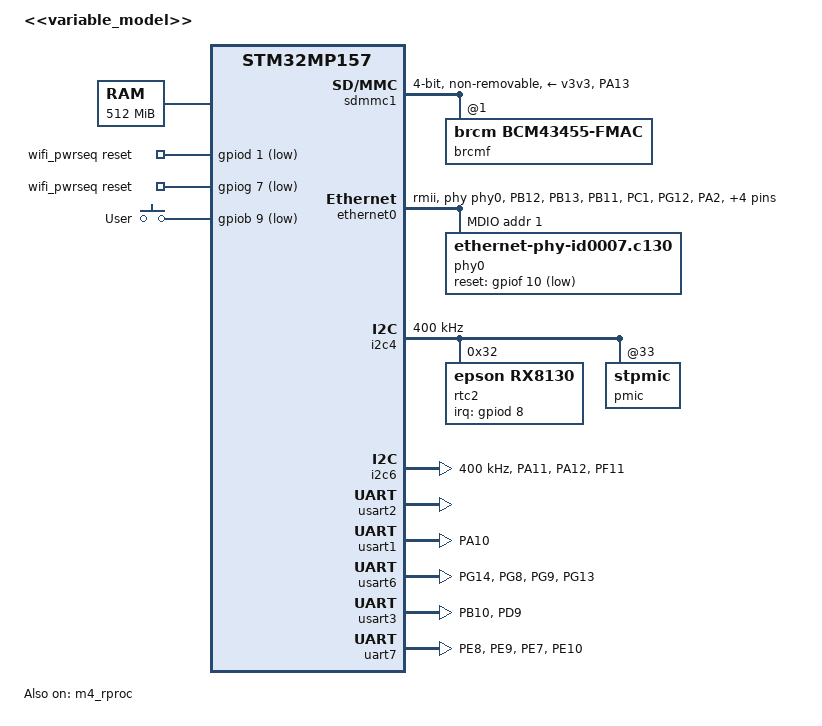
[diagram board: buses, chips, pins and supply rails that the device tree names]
// SPDX-License-Identifier: (GPL-2.0+ OR BSD-3-Clause)
/*
 * Copyright (C) STMicroelectronics 2019 - All Rights Reserved
 * Author: Alexandre Torgue <alexandre.torgue@st.com> for STMicroelectronics.
 */
/dts-v1/;

/ {
	cpus {
		cpu1: cpu@1 {
			compatible = "arm,cortex-a7";
			device_type = "cpu";
			reg = <1>;
		};
	};
};

#include "stm32mp151.dtsi"
#include "stm32mp15xa.dtsi"
#include "stm32mp15-pinctrl.dtsi"
#include "stm32mp15xxab-pinctrl.dtsi"
#include "stm32mp15-m4-srm.dtsi"
#include "stm32mp15-m4-srm-pinctrl.dtsi"
#include "stm32mp15xx-edx.dtsi"
#include <dt-bindings/input/input.h>

/ {
	model = "<<variable_model>>";
	compatible = "st,stm32mp157c-ed1", "st,stm32mp157";

	chosen {
		stdout-path = "serial0:115200n8";
	};

	aliases {
		serial0 = &uart4;
		serial1 = &usart1;
		serial2 = &usart2;
		serial3 = &usart3;
		serial6 = &usart6;
		serial7 = &uart7;
		ethernet0 = &ethernet0;
	};

	memory@c0000000 {
		device_type = "memory";
		reg = <0xC0000000 0x20000000>;
	};

	reserved-memory {
		#address-cells = <1>;
		#size-cells = <1>;
		ranges;

		mcu_rsc_table: mcu_rsc_table@10048000 {
			compatible = "shared-dma-pool";
			reg = <0x10048000 0x8000>;
			no-map;
		};
	};

	wifi_pwrseq: wifi-pwrseq {
		compatible = "mmc-pwrseq-simple";
		reset-gpios = <&gpiod 1 GPIO_ACTIVE_LOW>,
			<&gpiog 7 GPIO_ACTIVE_LOW>;
	};

	user_keys {
		compatible = "gpio-keys";
		#address-cells = <1>;
		#size-cells = <0>;
		autorepeat;
		button-0 {
			label = "User";
			linux,code = <KEY_F8>;
			gpios = <&gpiob 9 GPIO_ACTIVE_LOW>;
		};
	};
};

/delete-node/ &pinctrl_z;
/delete-node/ &i2s1;
/delete-node/ &i2s2;
/delete-node/ &i2s3;
/delete-node/ &i2c5;
/delete-node/ &i2c5_pins_a;
/delete-node/ &i2c5_sleep_pins_a;
/delete-node/ &sai1;
/delete-node/ &sai2;
/delete-node/ &sai3;
/delete-node/ &sai4;
/delete-node/ &cec;
/delete-node/ &dcmi;
/delete-node/ &spdifrx;
/delete-node/ &spdifrx_pins_a;
/delete-node/ &spdifrx_sleep_pins_a;
/delete-node/ &ltdc;
/delete-node/ &sd_switch;
/delete-node/ &dac;
/delete-node/ &usbotg_hs;
/delete-node/ &usbotg_hs_pins_a;
/delete-node/ &usbotg_fs_dp_dm_pins_a;
/delete-node/ &sdmmc1_dir_pins_a;
/delete-node/ &sdmmc1_dir_sleep_pins_a;
/delete-node/ &{/led};

&cpu0{
	cpu-supply = <&vddcore>;
	clock-frequency = <650000000>;
};

&pinctrl {
	/* I2C1 Expansion header */
	i2c1_pins_a: i2c1-0 {
		pins {
			pinmux = <STM32_PINMUX('B', 8, AF4)>, /* I2C1_SCL */
				 <STM32_PINMUX('B', 7, AF4)>; /* I2C1_SDA */
			bias-pull-up;
			drive-open-drain;
			slew-rate = <0>;
		};
	};

	i2c1_sleep_pins_a: i2c1-sleep-0 {
		pins {
			pinmux = <STM32_PINMUX('B', 8, ANALOG)>, /* I2C1_SCL */
				 <STM32_PINMUX('B', 7, ANALOG)>; /* I2C1_SDA */
		};
	};

	/* I2C4 PMIC & Apple authenticator */
	i2c4_pins_a: i2c4-0 {
		pins {
			pinmux = <STM32_PINMUX('D', 12, AF4)>, /* I2C4_SCL */
				 <STM32_PINMUX('D', 13, AF4)>; /* I2C4_SDA */
			bias-pull-up;
			drive-open-drain;
			slew-rate = <0>;
		};
	};

	i2c4_sleep_pins_a: i2c4-sleep-0 {
		pins {
			pinmux = <STM32_PINMUX('D', 12, ANALOG)>, /* I2C4_SCL */
				 <STM32_PINMUX('D', 13, ANALOG)>; /* I2C4_SDA */
		};
	};

	/* I2C6 Secure element */
	i2c6_pins_a: i2c6-0 {
		pins {
			pinmux = <STM32_PINMUX('A', 11, AF2)>, /* I2C6_SCL */
				 <STM32_PINMUX('A', 12, AF2)>; /* I2C6_SDA */
			bias-disable;
			drive-open-drain;
			slew-rate = <0>;
		};

		pins2 {
			pinmux = <STM32_PINMUX('F', 11, GPIO)>; /* RESET */
			drive-push-pull;
			output-high;
		};
	};

	i2c6_sleep_pins_a: i2c6-sleep-0 {
		pins {
			pinmux = <STM32_PINMUX('A', 11, ANALOG)>, /* I2C6_SCL */
				 <STM32_PINMUX('A', 12, ANALOG)>; /* I2C6_SDA */
		};

		pins2 {
			pinmux = <STM32_PINMUX('F', 11, ANALOG)>; /* RESET */
		};
	};

	/* USART1 PTI Zigbee module */
	usart1_pins_a: usart1-0 {
		pins {
			pinmux = <STM32_PINMUX('A', 10, AF7)>; /* USART1_RX */
			bias-disable;
		};
	};

	usart1_idle_pins_a: usart1-idle-0 {
		pins {
			pinmux = <STM32_PINMUX('A', 10, AF7)>; /* USART1_RX */
			bias-disable;
		};
	};

	usart1_sleep_pins_a: usart1-sleep-0 {
		pins {
			pinmux = <STM32_PINMUX('A', 10, ANALOG)>; /* USART1_RX */
		};
	};

	/* USART3 only RX Thread PTI */
	usart3_pins_a: usart3-0 {
		pins1 {
			pinmux = <STM32_PINMUX('B', 10, ANALOG)>; /* USART3_TX */
		};
		pins2 {
			pinmux = <STM32_PINMUX('D', 9, AF7)>; /* USART3_RX */
			bias-disable;
		};
	};

	usart3_idle_pins_a: usart3-idle-0 {
		pins1 {
			pinmux = <STM32_PINMUX('B', 10, ANALOG)>; /* USART3_TX */
		};
		pins2 {
			pinmux = <STM32_PINMUX('D', 9, AF7)>; /* USART3_RX */
			bias-disable;
		};
	};

	usart3_sleep_pins_a: usart3-sleep-0 {
		pins {
			pinmux = <STM32_PINMUX('B', 10, ANALOG)>, /* USART3_TX */
					<STM32_PINMUX('D', 9, ANALOG)>; /* USART3_RX */
		};
	};

	/* USART6 Zigbee module */
	usart6_pins_a: usart6-0 {
		pins1 {
			pinmux = <STM32_PINMUX('G', 14, AF7)>, /* USART6_TX */
				 <STM32_PINMUX('G', 8, AF7)>; /* USART6_RTS */
			bias-disable;
			drive-push-pull;
			slew-rate = <0>;
		};
		pins2 {
			pinmux = <STM32_PINMUX('G', 9, AF7)>, /* USART6_RX */
				 <STM32_PINMUX('G', 13, AF7)>; /* USART6_CTS */
			bias-disable;
		};
	};

	usart6_idle_pins_a: usart6-idle-0 {
		pins1 {
			pinmux = <STM32_PINMUX('G', 14, AF7)>, /* USART6_TX */
				 <STM32_PINMUX('G', 8, AF7)>; /* USART6_RTS */
			bias-pull-up;
			drive-push-pull;
			slew-rate = <0>;
		};
		pins2 {
			pinmux = <STM32_PINMUX('G', 9, AF7)>, /* USART7_RX */
				 <STM32_PINMUX('G', 13, AF7)>; /* USART7_CTS */
			bias-disable;
		};
	};

	usart6_sleep_pins_a: usart6-sleep-0 {
		pins {
			pinmux = <STM32_PINMUX('G', 14, ANALOG)>, /* USART7_TX */
				 <STM32_PINMUX('G', 9, ANALOG)>, /* USART7_RX */
				 <STM32_PINMUX('G', 8, ANALOG)>, /* USART7_RTS */
				 <STM32_PINMUX('G', 13, ANALOG)>; /* USART7_CTS */
		};
	};

	/* UART7 Thread module */
	uart7_pins_a: uart7-0 {
		pins1 {
			pinmux = <STM32_PINMUX('E', 8, AF7)>, /* USART7_TX */
				 <STM32_PINMUX('E', 9, AF7)>; /* USART7_RTS */
			bias-disable;
			drive-push-pull;
			slew-rate = <0>;
		};
		pins2 {
			pinmux = <STM32_PINMUX('E', 7, AF7)>, /* USART7_RX */
				 <STM32_PINMUX('E', 10, AF7)>; /* USART7_CTS */
			bias-disable;
		};
	};

	uart7_idle_pins_a: uart7-idle-0 {
		pins1 {
			pinmux = <STM32_PINMUX('E', 8, AF7)>, /* USART7_TX */
				 <STM32_PINMUX('E', 9, AF7)>; /* USART7_RTS */
			bias-pull-up;
			drive-push-pull;
			slew-rate = <0>;
		};
		pins2 {
			pinmux = <STM32_PINMUX('E', 7, AF7)>, /* USART7_RX */
				 <STM32_PINMUX('E', 10, AF7)>; /* USART7_CTS */
			bias-disable;
		};
	};

	uart7_sleep_pins_a: uart7-sleep-0 {
		pins {
			pinmux = <STM32_PINMUX('E', 8, ANALOG)>, /* USART7_TX */
				 <STM32_PINMUX('E', 7, ANALOG)>, /* USART7_RX */
				 <STM32_PINMUX('E', 9, ANALOG)>, /* USART7_RTS */
				 <STM32_PINMUX('E', 10, ANALOG)>; /* USART7_CTS */
		};
	};

	sdmmc1_b4_pins_a: sdmmc1-b4-0 {
		pins3 {
			pinmux = <STM32_PINMUX('A', 13, AF2)>; /* RCC_MCO_1 */
			drive-push-pull;
			bias-disable;
			slew-rate = <0>;
		};
	};

	sdmmc1_b4_od_pins_a: sdmmc1-b4-od-0 {
		pins4 {
			pinmux = <STM32_PINMUX('A', 13, AF2)>; /* RCC_MCO_1 */
			drive-push-pull;
			bias-disable;
			slew-rate = <0>;
		};
	};

	sdmmc1_b4_sleep_pins_a: sdmmc1-b4-sleep-0 {
		pins2 {
			pinmux = <STM32_PINMUX('A', 13, AF2)>; /* RCC_MCO_1 */
			drive-push-pull;
			bias-disable;
			slew-rate = <0>;
		};
	};

	sdmmc2_d47_pins_a: sdmmc2-d47-0 {
		pins {
			pinmux = <STM32_PINMUX('A', 8, AF9)>, /* SDMMC2_D4 */
				 <STM32_PINMUX('A', 9, AF10)>, /* SDMMC2_D5 */
				 <STM32_PINMUX('E', 5, AF9)>, /* SDMMC2_D6 */
				 <STM32_PINMUX('C', 7, AF10)>; /* SDMMC2_D7 */
			slew-rate = <1>;
			drive-push-pull;
			bias-pull-up;
		};
	};

	sdmmc2_d47_sleep_pins_a: sdmmc2-d47-sleep-0 {
		pins {
			pinmux = <STM32_PINMUX('A', 8, ANALOG)>, /* SDMMC2_D4 */
				 <STM32_PINMUX('A', 9, ANALOG)>, /* SDMMC2_D5 */
				 <STM32_PINMUX('E', 5, ANALOG)>, /* SDMMC2_D6 */
				 <STM32_PINMUX('C', 7, ANALOG)>; /* SDMMC2_D7 */
		};
	};

	ethernet0_rmii_pins_a: rmii-0 {
		pins1 {
			pinmux = <STM32_PINMUX('B', 12, AF11)>, /* ETH_RGMII_TXD0 */
				 <STM32_PINMUX('B', 13, AF11)>, /* ETH_RGMII_TXD1 */
				 <STM32_PINMUX('B', 11, AF11)>, /* ETH_RGMII_TX_CTL */
				 <STM32_PINMUX('C', 1, AF11)>, /* ETH_MDC */
				 <STM32_PINMUX('G', 12, AF11)>; /* ETH_INTn */
			bias-disable;
			drive-push-pull;
			slew-rate = <2>;
		};
		pins2 {
			pinmux = <STM32_PINMUX('A', 2, AF11)>; /* ETH_MDIO */
			bias-disable;
			drive-push-pull;
			slew-rate = <1>;
		};
		pins3 {
			pinmux = <STM32_PINMUX('C', 4, AF11)>, /* ETH_RGMII_RXD0 */
				 <STM32_PINMUX('C', 5, AF11)>, /* ETH_RGMII_RXD1 */
				 <STM32_PINMUX('A', 1, AF0)>, /* ETH_RGMII_RX_CLK */
				 <STM32_PINMUX('A', 7, AF11)>; /* ETH_RGMII_RX_CTL */
			bias-disable;
			slew-rate = <2>;
		};
	};

	ethernet0_rmii_sleep_pins_a: rmii-sleep-0 {
		pins1 {
			pinmux = <STM32_PINMUX('B', 12, ANALOG)>, /* ETH_RGMII_TXD0 */
				 <STM32_PINMUX('B', 13, ANALOG)>, /* ETH_RGMII_TXD1 */
				 <STM32_PINMUX('B', 11, ANALOG)>, /* ETH_RGMII_TX_CTL */
				 <STM32_PINMUX('A', 2, ANALOG)>, /* ETH_MDIO */
				 <STM32_PINMUX('C', 1, ANALOG)>, /* ETH_MDC */
				 <STM32_PINMUX('C', 4, ANALOG)>, /* ETH_RGMII_RXD0 */
				 <STM32_PINMUX('C', 5, ANALOG)>, /* ETH_RGMII_RXD1 */
				 <STM32_PINMUX('A', 1, ANALOG)>, /* ETH_RGMII_RX_CLK */
				 <STM32_PINMUX('A', 7, ANALOG)>, /* ETH_RGMII_RX_CTL */
				 <STM32_PINMUX('G', 12, ANALOG)>; /* ETH_INTn */
		};
	};
};

/* Wifi */
&sdmmc1 {
	arm,primecell-periphid = <0x10153180>;
	pinctrl-names = "default", "opendrain", "sleep";
	pinctrl-0 = <&sdmmc1_b4_pins_a>;
	pinctrl-1 = <&sdmmc1_b4_od_pins_a>;
	pinctrl-2 = <&sdmmc1_b4_sleep_pins_a>;
	non-removable;
	st,neg-edge;
	bus-width = <4>;
	vmmc-supply = <&v3v3>;
	mmc-pwrseq = <&wifi_pwrseq>;
	#address-cells = <1>;
	#size-cells = <0>;
	pm-ignore-notify;
	keep-power-in-suspend;
	status = "okay";
	/delete-property/ vqmmc-supply;
	/delete-property/ disable-wp;
	/delete-property/ st,sig-dir;
	/delete-property/ st,use-ckin;
	/delete-property/ sd-uhs-sdr12;
	/delete-property/ sd-uhs-sdr25;
	/delete-property/ sd-uhs-sdr50;
	/delete-property/ sd-uhs-ddr50;
	/delete-property/ sd-uhs-sdr104;

	brcmf: bcrmf@1 {
		reg = <1>;
		compatible = "brcm,bcm43455-fmac";
	};
};

&ethernet0 {
	status = "okay";
	pinctrl-0 = <&ethernet0_rmii_pins_a>;
	pinctrl-1 = <&ethernet0_rmii_sleep_pins_a>;
	pinctrl-names = "default", "sleep";
	phy-mode = "rmii";
	max-speed = <100>;
	phy-handle = <&phy0>;
	nvmem-cells = <&ethernet_mac_address>;
	nvmem-cell-names = "mac-address";
	st,eth-ref-clk-sel;
	clock-names = "stmmaceth",
		"mac-clk-tx",
		"mac-clk-rx",
		"eth-ck",
		"ethstp";
	clocks = <&rcc ETHMAC>,
		<&rcc ETHTX>,
		<&rcc ETHRX>,
		<&rcc ETHCK_K>,
		<&rcc ETHSTP>;

	mdio0 {
		#address-cells = <1>;
		#size-cells = <0>;
		compatible = "snps,dwmac-mdio";
		phy0: ethernet-phy@1 {
			compatible = "ethernet-phy-id0007.c130";
			reset-gpios = <&gpiof 10 GPIO_ACTIVE_LOW>;
			reset-assert-us = <1000>;
			reset-deassert-us = <2000>;
			reg = <1>;
		};
	};
};

/* I2C4 RTC Epson rx-8130 */
&i2c4 {
	i2c-scl-rising-time-ns = <100>;
	i2c-scl-falling-time-ns = <3>;
	clock-frequency = <400000>;
	/*RX-8130*/
	rtc2: rtc@32 {
		compatible = "epson,rx8130";
		reg = <0x32>;
		interrupt-parent = <&gpiod>;
		interrupts = <8>;
	};

	pmic: stpmic@33 {
		onkey {
			compatible = "st,stpmic1-onkey";
			interrupts = <IT_PONKEY_F 0>, <IT_PONKEY_R 0>;
			interrupt-names = "onkey-falling", "onkey-rising";
			power-off-time-sec = <1>;
			status = "okay";
		};
	};
};

/* I2C6 Secure element */
&i2c6 {
	pinctrl-names = "default", "sleep";
	pinctrl-0 = <&i2c6_pins_a>;
	pinctrl-1 = <&i2c6_sleep_pins_a>;
	i2c-scl-rising-time-ns = <86>;
	i2c-scl-falling-time-ns = <2>;
	clock-frequency = <400000>;
	status = "okay";
};

/* BT uart */
&usart2 {
	pinctrl-names = "default", "sleep", "idle";
	pinctrl-0 = <&usart2_pins_c>;
	pinctrl-1 = <&usart2_sleep_pins_c>;
	pinctrl-2 = <&usart2_idle_pins_c>;
	uart-has-rtscts;
	status = "okay";
};

/* Zigbee UARTS */
&usart1 {
	pinctrl-names = "default", "sleep", "idle";
	pinctrl-0 = <&usart1_pins_a>;
	pinctrl-1 = <&usart1_sleep_pins_a>;
	pinctrl-2 = <&usart1_idle_pins_a>;
	status = "okay";
};

&usart6 {
	pinctrl-names = "default", "sleep", "idle";
	pinctrl-0 = <&usart6_pins_a>;
	pinctrl-1 = <&usart6_sleep_pins_a>;
	pinctrl-2 = <&usart6_idle_pins_a>;
	uart-has-rtscts;
	status = "okay";
};


/* Thread UARTS */
&usart3 {
	pinctrl-names = "default", "sleep", "idle";
	pinctrl-0 = <&usart3_pins_a>;
	pinctrl-1 = <&usart3_sleep_pins_a>;
	pinctrl-2 = <&usart3_idle_pins_a>;
	status = "okay";
};

&uart7 {
	pinctrl-names = "default", "sleep", "idle";
	pinctrl-0 = <&uart7_pins_a>;
	pinctrl-1 = <&uart7_sleep_pins_a>;
	pinctrl-2 = <&uart7_idle_pins_a>;
	uart-has-rtscts;
	status = "okay";
};

/* M4 Optee config */
&m4_rproc {
	memory-region = <&vdev0vring0>, <&vdev0vring1>, <&vdev0buffer>, <&mcu_rsc_table>;
	st,auto-boot =  <1>;
	status = "okay";
};

&vdda {
	regulator-always-on;
};
